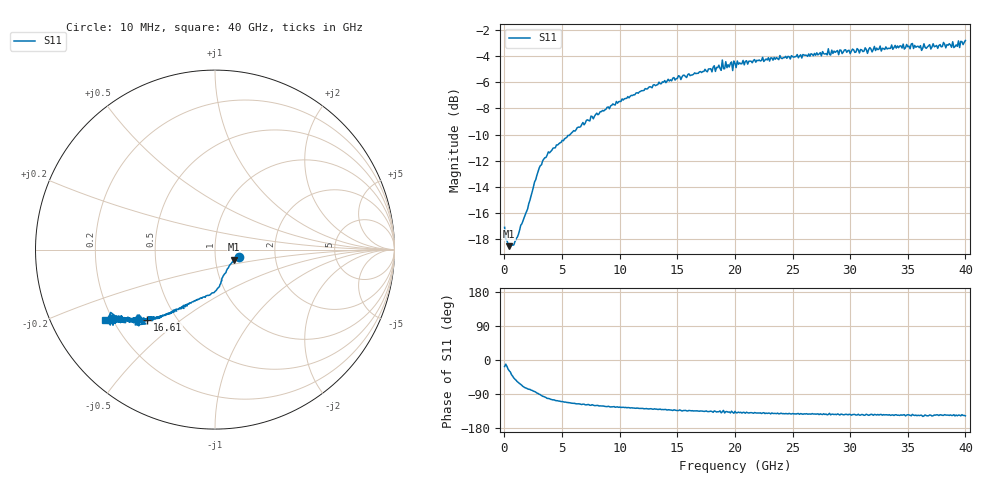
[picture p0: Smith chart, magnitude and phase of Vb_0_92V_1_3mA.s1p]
!Agilent Technologies,N5247A,US51170167,A.09.90.10
!Agilent N5247A: A.09.90.10
!Date: Tuesday, November 22, 2016 15:31:36
!Correction: S22(Full 1 Port(2))
!S1P File: Measurement: S22:
# Hz S  RI  R 50
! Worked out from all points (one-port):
!   401 points, 10 MHz to 40 GHz, reference 50 ohm
!   lowest |S11| = -18.6 dB at 409.9 MHz (marker M1), VSWR 1.27, Z = 61.1 - j6.95 ohm
!   |S11| at or under -10 dB: start of sweep to 5.696 GHz
!   S11 on the Smith chart (normalised r, x): 10 MHz: 1.30, -0.11; 16.61 GHz: 0.35, -0.38; 40 GHz: 0.17, -0.28
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1e7  0.1328 -0.0415
4.099e8  0.1035 -0.0561
6.0985e8  0.0926 -0.0746
1.00975e9  0.0748 -0.1013
1.909525e9  0.0429 -0.1538
2.509375e9  0.027 -0.1969
3.2092e9  -0.0159 -0.2412
3.909025e9  -0.0562 -0.263
5.00875e9  -0.1013 -0.2828
7.308175e9  -0.1653 -0.3174
1.00075e10  -0.2386 -0.3502
1.28068e10  -0.304 -0.3691
1.500625e10  -0.3566 -0.3783
1.660585e10  -0.3766 -0.3895
1.860535e10  -0.424 -0.4014
1.910522e10  -0.4325 -0.3649
2.0005e10  -0.4233 -0.4168
2.12047e10  -0.462 -0.3899
2.500375e10  -0.492 -0.3937
2.830292e10  -0.5213 -0.369
3.00025e10  -0.5206 -0.3837
3.500125e10  -0.5595 -0.3998
3.52012e10  -0.5589 -0.3788
3.650088e10  -0.5606 -0.392
3.80005e10  -0.5704 -0.3862
3.900025e10  -0.554 -0.3979
3.970008e10  -0.5835 -0.4204
4e10  -0.6133 -0.3901
